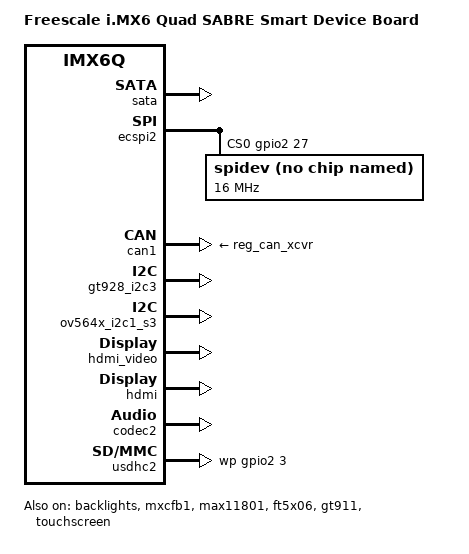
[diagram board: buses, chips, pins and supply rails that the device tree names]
/*
 * Copyright 2012=2015 Freescale Semiconductor, Inc.
 * Copyright 2011 Linaro Ltd.
 *
 * The code contained herein is licensed under the GNU General Public
 * License. You may obtain a copy of the GNU General Public License
 * Version 2 or later at the following locations:
 *
 * http://www.opensource.org/licenses/gpl-license.html
 * http://www.gnu.org/copyleft/gpl.html
 */

/dts-v1/;

#include "imx6q.dtsi"
#include "imx6qdl-sabresd.dtsi"

/ {
	model = "Freescale i.MX6 Quad SABRE Smart Device Board";
	compatible = "fsl,imx6q-sabresd", "fsl,imx6q";
};

&battery {
	offset-charger = <1900>;
	offset-discharger = <1694>;
	offset-usb-charger = <1685>;
};

&ldb {
	lvds-channel@0 {
		crtc = "ipu2-di0";
		primary;
	};

	lvds-channel@1 {
		crtc = "ipu2-di1";
	};
};

&backlights {
	pwms = <&pwm1 0 5000000>;
	status = "okay";
};

&mxcfb1 {
	compatible = "fsl,mxc_sdc_fb";
        disp_dev = "lcd";
        mode_str ="NHD-4.3-ATXI";
        interface_pix_fmt = "RGB24";
        default_bpp = <16>;
        int_clk = <0>;
        late_init = <0>;
	status = "okay";
};

&mxcfb2 {
//	status = "okay";
};

&mxcfb3 {
//	status = "okay";
};

&mxcfb4 {
//	status = "okay";
};

&sata {
	status = "okay";
};


&ecspi1 {                   
	fsl,spi-num-chipselects = <1>;
        cs-gpios = <&gpio4 9 0>;
        pinctrl-names = "default";
        pinctrl-0 = <&pinctrl_ecspi1>;
        status = "disable";         
                                    
        flash: m25p80@0 {          
                #address-cells = <1>;
                #size-cells = <1>;
                compatible = "st,m25p32";
                spi-max-frequency = <20000000>;
                reg = <0>;                    
        };                                   
};

&ecspi2 {
	fsl,spi-num-chipselects = <1>;
	cs-gpios = <&gpio2 27 0>;
	pinctrl-names = "default";
	pinctrl-0 = <&pinctrl_ecspi2>;
	status = "okay";
	
	spidev: spidev@0 {
		#address-cells = <1>;
		#size-cells = <1>;
		compatible = "rohm,dh2228fv";
		spi-max-frequency = <16000000>;
		reg = <0>;
	};
};

&can1 {
	status = "okay";
	pinctrl-names = "default";
	pinctrl-0 = <&pinctrl_can1>;
	xceiver-supply  = <&reg_can_xcvr>;
};

&max11801 {
	status = "okay";
};

&ft5x06 {
	status = "okay";
};

&gt911 {
	status = "okay";
};

&gt928_i2c3 {
	status = "okay";
};

&ov564x_i2c1_s3 {
	status = "okay";
};

&hdmi_video {
	pinctrl-names = "default";
	pinctrl-0 = <&pinctrl_hdmi_hdcp>;
	fsl,hdcp;
	status = "okay";
};

&hdmi {
	status = "okay";
};

&touchscreen {
	status = "okay";
};

&codec2 {
        status = "okay";
};

&mx6sound {
        compatible = "fsl,imx6q-sabresd-wm8960",
                   "fsl,imx-audio-wm8960";
        model = "wm8960-audio";
        audio-codec = <&codec2>;
        audio-routing =
                "Headphone Jack", "HP_L",
                "Headphone Jack", "HP_R",
                "Ext Spk", "SPK_RP",
                "Ext Spk", "SPK_RN",
                "Ext Spk", "SPK_LP",
                "Ext Spk", "SPK_LN",
                "AMIC", "MICB",
                "LINPUT1", "AMIC",
                "LINPUT2", "AMIC",
                "RINPUT1", "AMIC",
                "RINPUT2", "AMIC",
                "LINPUT3", "AMIC",
                "RINPUT3", "AMIC",
                "DMIC", "MICB",
                "LINPUT1", "DMIC",
                "LINPUT2", "DMIC",
                "RINPUT1", "DMIC",
                "RINPUT2", "DMIC",
                "CPU-Playback", "ASRC-Playback",
                "Playback", "CPU-Playback",
                "ASRC-Capture", "CPU-Capture",
                "CPU-Capture", "Capture";
        hp-det-gpios = <&gpio7 8 0>;
};

&usdhc2 {
        wp-gpios = <&gpio2 3 GPIO_ACTIVE_HIGH>;
};
